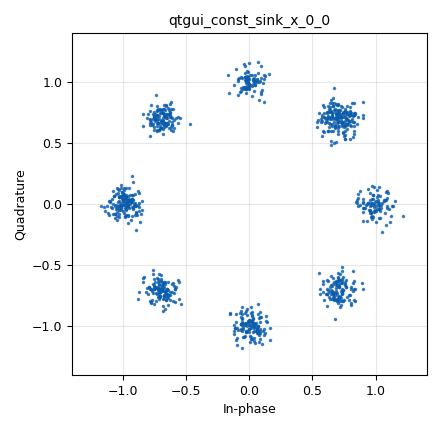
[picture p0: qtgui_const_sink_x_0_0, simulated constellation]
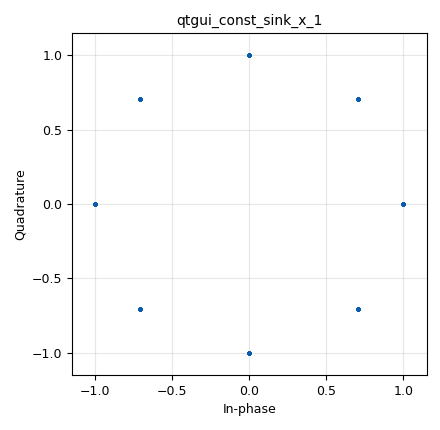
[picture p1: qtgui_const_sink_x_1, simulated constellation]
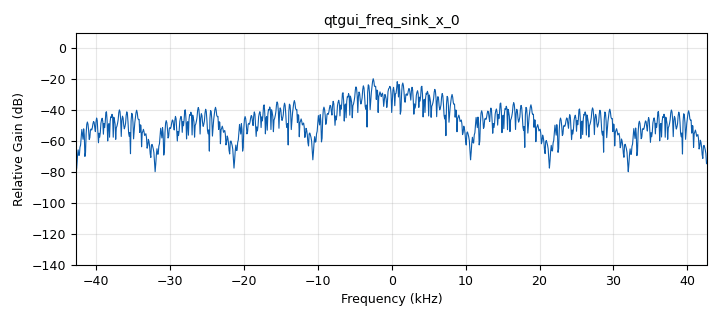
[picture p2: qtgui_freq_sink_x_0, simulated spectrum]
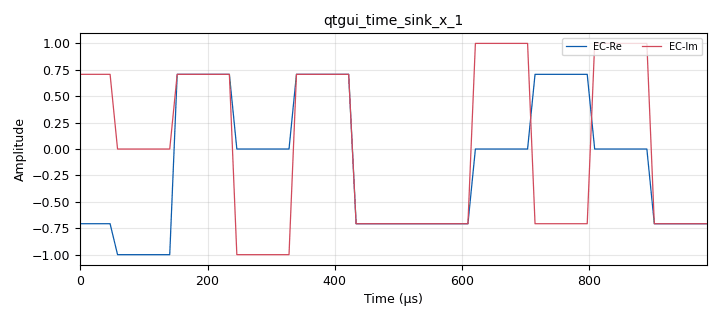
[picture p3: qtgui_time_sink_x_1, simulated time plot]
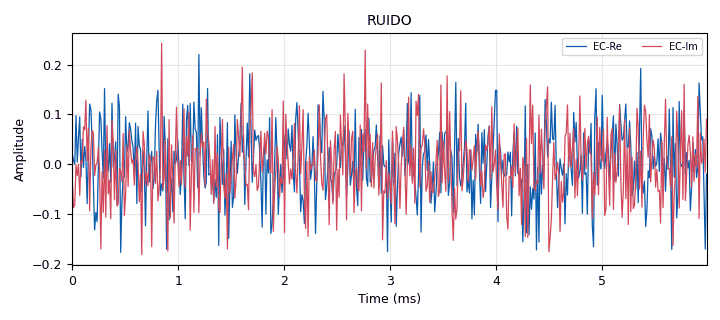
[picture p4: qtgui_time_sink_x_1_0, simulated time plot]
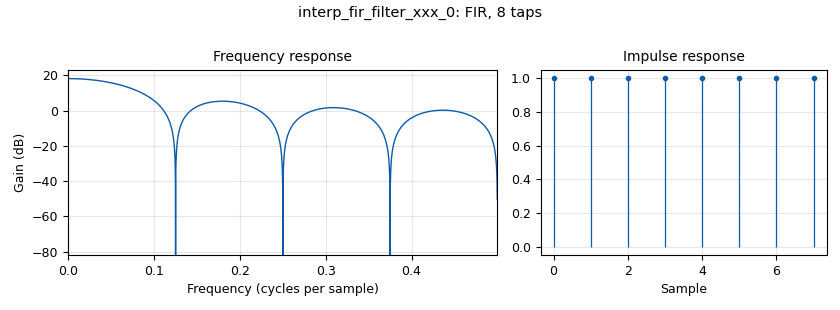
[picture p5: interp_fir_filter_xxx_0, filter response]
options:
  parameters:
    generate_options: qt_gui
    id: VCO
    output_language: python
    title: Not titled yet
  states: {}

blocks:
- name: M
  id: variable
  parameters:
    value: '8'
  states: {}
- name: Nbs
  id: variable
  parameters:
    value: int(math.log(M,2))
  states: {}
- name: Rb
  id: variable
  parameters:
    value: '32000'
  states: {}
- name: Rs
  id: variable
  parameters:
    value: Rb/Nbs
  states: {}
- name: Sps
  id: variable
  parameters:
    value: len(h)
  states: {}
- name: h
  id: variable
  parameters:
    value: (1,1,1,1,1,1,1,1)
  states: {}
- name: samp_rate
  id: variable
  parameters:
    value: Rs*Sps
  states: {}
- name: analog_const_source_x_0
  id: analog_const_source_x
  parameters:
    const: '1'
    type: float
  states: {}
- name: analog_noise_source_x_0
  id: analog_noise_source_x
  parameters:
    amp: '0.1'
    noise_type: analog.GR_GAUSSIAN
    seed: '0'
    type: complex
  states: {}
- name: analog_random_source_x_0
  id: analog_random_source_x
  parameters:
    max: '2'
    min: '0'
    num_samps: '1000'
    repeat: 'True'
    type: byte
  states: {}
- name: blocks_add_xx_0
  id: blocks_add_xx
  parameters:
    type: complex
  states: {}
- name: blocks_char_to_float_0
  id: blocks_char_to_float
  parameters:
    scale: '1'
  states: {state: disabled}
- name: blocks_char_to_float_0_0
  id: blocks_char_to_float
  parameters:
    scale: '1'
  states: {state: disabled}
- name: blocks_char_to_float_1
  id: blocks_char_to_float
  parameters:
    scale: '1'
  states: {}
- name: blocks_multiply_const_vxx_0
  id: blocks_multiply_const_vxx
  parameters:
    const: 2*math.pi/M
    type: float
  states: {}
- name: blocks_null_sink_1
  id: blocks_null_sink
  parameters:
    type: complex
  states: {}
- name: blocks_repack_bits_bb_0
  id: blocks_repack_bits_bb
  parameters:
    endianness: gr.GR_LSB_FIRST
    k: '1'
    l: Nbs
  states: {}
- name: epy_block_0
  id: epy_block
  parameters:
    _source_code: "\"\"\"\nEmbedded Python Blocks:\n\nEach time this file is saved, GRC will instantiate the first class it finds\nto get ports and parameters of your block. The arguments to __init__  will\nbe the parameters. All of them are required to have default values!\n\"\"\"\n\nimport numpy as np\nfrom gnuradio import gr\n\n\nclass blk(gr.sync_block):  # other base classes are basic_block, decim_block, interp_block\n    \"\"\"Embedded Python Block example - a simple multiply const\"\"\"\n\n    def __init__(self, example_param=1.0):  # only default arguments here\n        \"\"\"arguments to this function show up as parameters in GRC\"\"\"\n        gr.sync_block.__init__(\n            self,\n            name='VCO Complex',   # will show up in GRC\n            in_sig=[np.float32, np.float32],\n            out_sig=[np.complex64]\n        )\n        # if an attribute with the same name as a parameter is found,\n        # a callback is registered (properties work, too).\n        self.example_param = example_param\n\n    def work(self, input_items, output_items):\n        Q=input_items[1]\n        A=input_items[0]\n        Sec=output_items[0]\n        Sec[:]=A*np.exp(1.j*Q)\n        return len(Sec)\n\n\n        "
    example_param: '1.0'
  states: {}
- name: import_0
  id: import
  parameters:
    imports: import math
  states: {}
- name: interp_fir_filter_xxx_0
  id: interp_fir_filter_xxx
  parameters:
    interp: '8'
    taps: h
    type: ccc
  states: {}
- name: qtgui_const_sink_x_0
  id: qtgui_const_sink_x
  parameters:
    autoscale: 'True'
    size: '1024'
    type: complex
  states: {state: disabled}
- name: qtgui_const_sink_x_0_0
  id: qtgui_const_sink_x
  parameters:
    autoscale: 'True'
    size: '1024'
    type: complex
  states: {}
- name: qtgui_const_sink_x_1
  id: qtgui_const_sink_x
  parameters:
    autoscale: 'True'
    size: '1024'
    type: complex
  states: {}
- name: qtgui_freq_sink_x_0
  id: qtgui_freq_sink_x
  parameters:
    bw: samp_rate
    fc: '0'
    fftsize: '1024'
    type: complex
  states: {}
- name: qtgui_freq_sink_x_1
  id: qtgui_freq_sink_x
  parameters:
    average: '0.05'
    bw: samp_rate
    fc: '0'
    fftsize: '1024'
    name: PSD
    type: complex
    update_time: '0.01'
    ymax: '6e-6'
  states: {state: disabled}
- name: qtgui_time_sink_x_0
  id: qtgui_time_sink_x
  parameters:
    autoscale: 'True'
    label1: Binario
    marker1: '0'
    size: '32'
    srate: Rb
    stemplot: 'True'
    style1: '2'
    type: float
    width1: '3'
  states: {state: disabled}
- name: qtgui_time_sink_x_0_0
  id: qtgui_time_sink_x
  parameters:
    autoscale: 'True'
    label1: M_PAM
    marker1: '0'
    size: '32'
    srate: Rs
    stemplot: 'True'
    style1: '2'
    type: float
    width1: '3'
  states: {state: disabled}
- name: qtgui_time_sink_x_0_0_0
  id: qtgui_time_sink_x
  parameters:
    autoscale: 'True'
    label1: M-PAM.Mod
    marker1: '0'
    size: '32'
    srate: Rs
    stemplot: 'True'
    style1: '2'
    type: float
    width1: '3'
  states: {state: disabled}
- name: qtgui_time_sink_x_1
  id: qtgui_time_sink_x
  parameters:
    autoscale: 'True'
    label1: EC-Re
    label2: EC-Im
    size: int(32*Sps/Nbs)
    srate: samp_rate
    type: complex
    width1: '3'
    width2: '3'
  states: {}
- name: qtgui_time_sink_x_1_0
  id: qtgui_time_sink_x
  parameters:
    autoscale: 'True'
    color1: red
    label1: EC-Re
    label2: EC-Im
    name: RUIDO
    size: '512'
    srate: samp_rate
    style1: '3'
    type: complex
    width1: '3'
    width2: '3'
  states: {}
- name: qtgui_time_sink_x_2
  id: qtgui_time_sink_x
  parameters:
    autoscale: 'True'
    label1: EC-Re
    label2: EC-Im
    marker1: '0'
    marker2: '0'
    size: '10'
    srate: Rs
    stemplot: 'True'
    type: complex
    width1: '3'
    width2: '3'
  states: {state: disabled}

connections:
- [analog_const_source_x_0, '0', epy_block_0, '0']
- [analog_noise_source_x_0, '0', blocks_add_xx_0, '0']
- [analog_noise_source_x_0, '0', qtgui_time_sink_x_1_0, '0']
- [analog_random_source_x_0, '0', blocks_char_to_float_0, '0']
- [analog_random_source_x_0, '0', blocks_repack_bits_bb_0, '0']
- [blocks_add_xx_0, '0', blocks_null_sink_1, '0']
- [blocks_add_xx_0, '0', qtgui_const_sink_x_0_0, '0']
- [blocks_char_to_float_0, '0', qtgui_time_sink_x_0, '0']
- [blocks_char_to_float_0_0, '0', qtgui_time_sink_x_0_0, '0']
- [blocks_char_to_float_1, '0', blocks_multiply_const_vxx_0, '0']
- [blocks_multiply_const_vxx_0, '0', epy_block_0, '1']
- [blocks_multiply_const_vxx_0, '0', qtgui_time_sink_x_0_0_0, '0']
- [blocks_repack_bits_bb_0, '0', blocks_char_to_float_0_0, '0']
- [blocks_repack_bits_bb_0, '0', blocks_char_to_float_1, '0']
- [epy_block_0, '0', interp_fir_filter_xxx_0, '0']
- [epy_block_0, '0', qtgui_const_sink_x_0, '0']
- [epy_block_0, '0', qtgui_const_sink_x_1, '0']
- [epy_block_0, '0', qtgui_time_sink_x_2, '0']
- [interp_fir_filter_xxx_0, '0', blocks_add_xx_0, '1']
- [interp_fir_filter_xxx_0, '0', qtgui_freq_sink_x_0, '0']
- [interp_fir_filter_xxx_0, '0', qtgui_freq_sink_x_1, '0']
- [interp_fir_filter_xxx_0, '0', qtgui_time_sink_x_1, '0']

metadata:
  file_format: 1
  grc_version: v3.10.11.0-89-ga17f69e7
